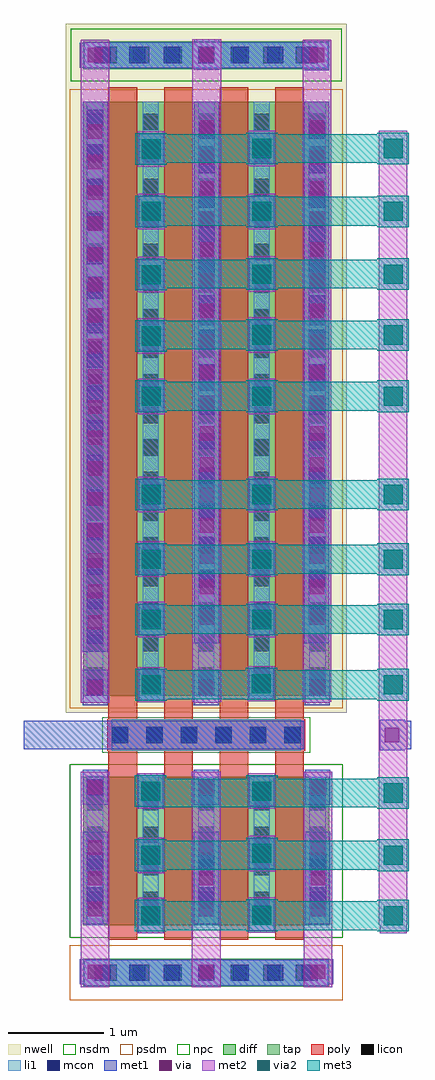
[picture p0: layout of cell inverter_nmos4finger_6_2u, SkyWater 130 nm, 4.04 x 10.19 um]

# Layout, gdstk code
import gdstk
lib = gdstk.Library(unit=1e-6, precision=1e-09)
def R(c, l, rs):  # rectangles x0, y0, x1, y1
    for r in rs: c.add(gdstk.rectangle(r[:2], r[2:], *l))
def A(c, l, x, y, w, h, nx, ny, dx, dy):  # array of equal rectangles
    R(c, l, [(x+i*dx, y+j*dy, x+i*dx+w, y+j*dy+h) for i in range(nx) for j in range(ny)])
nwell = (64, 20)
diff = (65, 20)
tap = (65, 44)
poly = (66, 20)
licon = (66, 44)
li1 = (67, 20)
mcon = (67, 44)
met1 = (68, 20)
via = (68, 44)
met2 = (69, 20)
via2 = (69, 44)
met3 = (70, 20)
nsdm = (93, 44)
psdm = (94, 20)
npc = (95, 20)

nfet_01v8_cdns_754877090 = lib.new_cell('nfet_01v8_CDNS_754877090682')
A(nfet_01v8_cdns_754877090, diff, 0, 0, 0.3, 1.55, 4, 1, 0.58, 0)
A(nfet_01v8_cdns_754877090, diff, 0.3, 0, 0.28, 1.55, 3, 1, 0.58, 0)
R(nfet_01v8_cdns_754877090, diff, [(-0.265,0,0,1.55), (2.04,0,2.305,1.55)])
R(nfet_01v8_cdns_754877090, tap, [(-0.265,1.9,2.305,2.19)])
A(nfet_01v8_cdns_754877090, poly, 0, -0.15, 0.3, 0.055, 4, 2, 0.58, 1.795)
A(nfet_01v8_cdns_754877090, poly, 0, -0.095, 0.3, 0.095, 4, 2, 0.58, 1.645)
A(nfet_01v8_cdns_754877090, poly, 0, 0, 0.3, 1.55, 4, 1, 0.58, 0)
A(nfet_01v8_cdns_754877090, licon, -0.225, 0.18, 0.17, 0.17, 5, 4, 0.58, 0.34)
A(nfet_01v8_cdns_754877090, licon, -0.085, 1.96, 0.17, 0.17, 7, 1, 0.34, 0)
A(nfet_01v8_cdns_754877090, li1, -0.225, 0, 0.17, 1.55, 5, 1, 0.58, 0)
R(nfet_01v8_cdns_754877090, li1, [(-0.255,1.91,2.295,2.18)])
A(nfet_01v8_cdns_754877090, mcon, -0.145, 1.96, 0.17, 0.17, 7, 1, 0.36, 0)
R(nfet_01v8_cdns_754877090, met1, [(-0.255,1.91,2.295,2.18)])
R(nfet_01v8_cdns_754877090, nsdm, [(-0.405,-0.13,2.445,1.68)])
R(nfet_01v8_cdns_754877090, psdm, [(-0.405,1.76,2.445,2.33)])

pfet_01v8_cdns_754877090 = lib.new_cell('pfet_01v8_CDNS_754877090683')
R(pfet_01v8_cdns_754877090, nwell, [(-0.445,-0.18,2.485,7.01)])
A(pfet_01v8_cdns_754877090, diff, 0, 0, 0.3, 6.2, 4, 1, 0.58, 0)
A(pfet_01v8_cdns_754877090, diff, 0.3, 0, 0.28, 6.2, 3, 1, 0.58, 0)
R(pfet_01v8_cdns_754877090, diff, [(-0.265,0,0,6.2), (2.04,0,2.305,6.2)])
R(pfet_01v8_cdns_754877090, tap, [(-0.265,6.54,2.305,6.83)])
A(pfet_01v8_cdns_754877090, poly, 0, -0.15, 0.3, 0.055, 4, 2, 0.58, 6.445)
A(pfet_01v8_cdns_754877090, poly, 0, -0.095, 0.3, 0.095, 4, 2, 0.58, 6.295)
A(pfet_01v8_cdns_754877090, poly, 0, 0, 0.3, 6.2, 4, 1, 0.58, 0)
A(pfet_01v8_cdns_754877090, licon, -0.225, 0.125, 0.17, 0.17, 5, 18, 0.58, 0.34)
A(pfet_01v8_cdns_754877090, licon, -0.085, 6.6, 0.17, 0.17, 7, 1, 0.34, 0)
A(pfet_01v8_cdns_754877090, li1, -0.225, 0, 0.17, 6.2, 5, 1, 0.58, 0)
R(pfet_01v8_cdns_754877090, li1, [(-0.255,6.55,2.295,6.82)])
A(pfet_01v8_cdns_754877090, mcon, -0.145, 6.6, 0.17, 0.17, 7, 1, 0.36, 0)
R(pfet_01v8_cdns_754877090, met1, [(-0.255,6.55,2.295,6.82)])
R(pfet_01v8_cdns_754877090, nsdm, [(-0.395,6.41,2.435,6.96)])
R(pfet_01v8_cdns_754877090, psdm, [(-0.405,-0.13,2.445,6.33)])

l1m1_c_cdns_754877090680 = lib.new_cell('L1M1_C_CDNS_754877090680')
R(l1m1_c_cdns_754877090680, li1, [(-0.085,-0.085,0.085,0.085)])
R(l1m1_c_cdns_754877090680, mcon, [(-0.085,-0.085,0.085,0.085)])
R(l1m1_c_cdns_754877090680, met1, [(-0.115,-0.185,0.115,0.185)])

m1m2_c_cdns_754877090682 = lib.new_cell('M1M2_C_CDNS_754877090682')
R(m1m2_c_cdns_754877090682, met1, [(-0.13,-0.185,0.13,0.185)])
R(m1m2_c_cdns_754877090682, via, [(-0.075,-0.075,0.075,0.075)])
R(m1m2_c_cdns_754877090682, met2, [(-0.13,-0.16,0.13,0.16)])

m1m2_c_cdns_754877090681 = lib.new_cell('M1M2_C_CDNS_754877090681')
R(m1m2_c_cdns_754877090681, met1, [(-0.16,-0.13,0.16,0.13)])
R(m1m2_c_cdns_754877090681, via, [(-0.075,-0.075,0.075,0.075)])
R(m1m2_c_cdns_754877090681, met2, [(-0.13,-0.16,0.13,0.16)])

l1m1_c_cdns_754877090683 = lib.new_cell('L1M1_C_CDNS_7548770906831')
R(l1m1_c_cdns_754877090683, li1, [(-0.085,-0.475,0.085,0.485)])
R(l1m1_c_cdns_754877090683, mcon, [(-0.085,-0.265,0.085,-0.095), (-0.085,0.095,0.085,0.265)])
R(l1m1_c_cdns_754877090683, met1, [(-0.13,-0.475,0.13,0.485)])

polyconn_cdns_7548770906 = lib.new_cell('polyConn_CDNS_754877090681')
R(polyconn_cdns_7548770906, poly, [(-1.035,-0.165,1.035,0.165)])
A(polyconn_cdns_7548770906, licon, -0.985, -0.085, 0.17, 0.17, 6, 1, 0.36, 0)
R(polyconn_cdns_7548770906, li1, [(-0.985,-0.165,0.985,0.165)])
A(polyconn_cdns_7548770906, mcon, -0.985, -0.085, 0.17, 0.17, 6, 1, 0.36, 0)
R(polyconn_cdns_7548770906, met1, [(-1.015,-0.145,1.015,0.145)])
R(polyconn_cdns_7548770906, npc, [(-1.085,-0.185,1.085,0.185)])

m1m2_c_cdns_754877090683 = lib.new_cell('M1M2_C_CDNS_7548770906832')
R(m1m2_c_cdns_754877090683, met1, [(-0.13,-0.475,0.13,0.485)])
A(m1m2_c_cdns_754877090683, via, -0.075, -0.395, 0.15, 0.15, 1, 3, 0, 0.32)
R(m1m2_c_cdns_754877090683, met2, [(-0.13,-0.475,0.13,0.485)])

m2m3_c_cdns_754877090681 = lib.new_cell('M2M3_C_CDNS_7548770906819')
R(m2m3_c_cdns_754877090681, met2, [(-0.14,-0.185,0.14,0.185)])
R(m2m3_c_cdns_754877090681, via2, [(-0.1,-0.1,0.1,0.1)])
R(m2m3_c_cdns_754877090681, met3, [(-0.165,-0.165,0.165,0.165)])

c_l1m1_c_cdns_754877090683 = lib.new_cell('L1M1_C_CDNS_7548770906833')
R(c_l1m1_c_cdns_754877090683, li1, [(-0.085,-0.13,0.085,0.13)])
R(c_l1m1_c_cdns_754877090683, mcon, [(-0.085,-0.12,0.085,0.05)])
R(c_l1m1_c_cdns_754877090683, met1, [(-0.13,-0.19,0.13,0.13)])

c_m1m2_c_cdns_754877090683 = lib.new_cell('M1M2_C_CDNS_7548770906834')
R(c_m1m2_c_cdns_754877090683, met1, [(-0.13,-0.19,0.13,0.13)])
R(c_m1m2_c_cdns_754877090683, via, [(-0.075,-0.11,0.075,0.04)])
R(c_m1m2_c_cdns_754877090683, met2, [(-0.14,-0.22,0.14,0.15)])

m2m3_c_cdns_754877090683 = lib.new_cell('M2M3_C_CDNS_7548770906835')
R(m2m3_c_cdns_754877090683, met2, [(-0.14,-0.22,0.14,0.15)])
R(m2m3_c_cdns_754877090683, via2, [(-0.1,-0.135,0.1,0.065)])
R(m2m3_c_cdns_754877090683, met3, [(-0.165,-0.2,0.165,0.13)])

c_l1m1_c_cdns_754877090683_ = lib.new_cell('L1M1_C_CDNS_7548770906836')
R(c_l1m1_c_cdns_754877090683_, li1, [(-0.085,-0.15,0.085,0.15)])
R(c_l1m1_c_cdns_754877090683_, mcon, [(-0.085,-0.085,0.085,0.085)])
R(c_l1m1_c_cdns_754877090683_, met1, [(-0.13,-0.16,0.13,0.16)])

c_m1m2_c_cdns_754877090683_ = lib.new_cell('M1M2_C_CDNS_7548770906837')
R(c_m1m2_c_cdns_754877090683_, met1, [(-0.13,-0.16,0.13,0.16)])
R(c_m1m2_c_cdns_754877090683_, via, [(-0.075,-0.075,0.075,0.075)])
R(c_m1m2_c_cdns_754877090683_, met2, [(-0.14,-0.185,0.14,0.185)])

c_l1m1_c_cdns_754877090683__ = lib.new_cell('L1M1_C_CDNS_7548770906838')
R(c_l1m1_c_cdns_754877090683__, li1, [(-0.085,-2.87,0.085,2.87)])
A(c_l1m1_c_cdns_754877090683__, mcon, -0.085, -2.785, 0.17, 0.17, 1, 16, 0, 0.36)
R(c_l1m1_c_cdns_754877090683__, met1, [(-0.13,-2.87,0.13,2.87)])

c_m1m2_c_cdns_754877090683__ = lib.new_cell('M1M2_C_CDNS_7548770906839')
R(c_m1m2_c_cdns_754877090683__, met1, [(-0.13,-2.87,0.13,2.87)])
A(c_m1m2_c_cdns_754877090683__, via, -0.075, -2.635, 0.15, 0.15, 1, 17, 0, 0.32)
R(c_m1m2_c_cdns_754877090683__, met2, [(-0.13,-2.87,0.13,2.87)])

m1m2_c_cdns_754877090684 = lib.new_cell('M1M2_C_CDNS_7548770906840')
R(m1m2_c_cdns_754877090684, met1, [(-0.13,-0.16,0.13,0.16)])
R(m1m2_c_cdns_754877090684, via, [(-0.075,-0.075,0.075,0.075)])
R(m1m2_c_cdns_754877090684, met2, [(-0.13,-0.16,0.13,0.16)])

l1m1_c_cdns_754877090684 = lib.new_cell('L1M1_C_CDNS_7548770906841')
R(l1m1_c_cdns_754877090684, li1, [(-0.085,-2.825,0.085,2.825)])
A(l1m1_c_cdns_754877090684, mcon, -0.085, -2.605, 0.17, 0.17, 1, 15, 0, 0.36)
R(l1m1_c_cdns_754877090684, met1, [(-0.13,-2.825,0.13,2.825)])

c_m1m2_c_cdns_754877090684 = lib.new_cell('M1M2_C_CDNS_7548770906842')
R(c_m1m2_c_cdns_754877090684, met1, [(-0.13,-2.825,0.13,2.825)])
A(c_m1m2_c_cdns_754877090684, via, -0.075, -2.635, 0.15, 0.15, 1, 17, 0, 0.32)
R(c_m1m2_c_cdns_754877090684, met2, [(-0.13,-2.825,0.13,2.825)])

c_l1m1_c_cdns_754877090684 = lib.new_cell('L1M1_C_CDNS_7548770906843')
R(c_l1m1_c_cdns_754877090684, li1, [(-0.13,-0.165,0.13,0.165)])
R(c_l1m1_c_cdns_754877090684, mcon, [(-0.085,-0.085,0.085,0.085)])
R(c_l1m1_c_cdns_754877090684, met1, [(-0.13,-0.16,0.13,0.16)])

inverter_nmos4finger_6_2 = lib.new_cell('inverter_nmos4finger_6_2u')
R(inverter_nmos4finger_6_2, met1, [(1.838,0.11,1.978,0.25), (2.355,0.625,2.615,0.95), (0.615,0.69,0.875,1.655), (1.775,0.69,2.035,1.655), (2.94,0.69,3.2,1.655), (0,2.595,0.14,2.735), (3.775,2.595,3.915,2.735), (1.835,9.755,1.975,9.895)])
inverter_nmos4finger_6_2.add(gdstk.FlexPath([(1.615,2.925),(1.615,2.38)], 0.3, ends="flush", simple_path=True, layer=66, datatype=20))  # poly
inverter_nmos4finger_6_2.add(gdstk.FlexPath([(1.035,2.925),(1.035,2.38)], 0.3, ends="flush", simple_path=True, layer=66, datatype=20))  # poly
inverter_nmos4finger_6_2.add(gdstk.FlexPath([(2.195,2.925),(2.195,2.38)], 0.3, ends="flush", simple_path=True, layer=66, datatype=20))  # poly
inverter_nmos4finger_6_2.add(gdstk.FlexPath([(2.775,2.925),(2.775,2.38)], 0.3, ends="flush", simple_path=True, layer=66, datatype=20))  # poly
inverter_nmos4finger_6_2.add(gdstk.FlexPath([(0.745,3.075),(0.745,3.16)], 0.17, ends="flush", simple_path=True, layer=67, datatype=20))  # li1
inverter_nmos4finger_6_2.add(gdstk.FlexPath([(1.325,0.8),(1.325,0.69)], 0.17, ends="flush", simple_path=True, layer=67, datatype=20))  # li1
inverter_nmos4finger_6_2.add(gdstk.FlexPath([(0.745,2.24),(0.745,2.12)], 0.17, ends="flush", simple_path=True, layer=67, datatype=20))  # li1
inverter_nmos4finger_6_2.add(gdstk.FlexPath([(0.745,1.455),(0.745,1.35)], 0.17, ends="flush", simple_path=True, layer=67, datatype=20))  # li1
inverter_nmos4finger_6_2.add(gdstk.FlexPath([(3.845,2.665),(4.045,2.665)], 0.3, ends="flush", simple_path=True, layer=68, datatype=20))  # met1
inverter_nmos4finger_6_2.add(gdstk.FlexPath([(1.905,2.665),(0,2.665)], 0.3, ends=(1.015, 0), simple_path=True, layer=68, datatype=20))  # met1
inverter_nmos4finger_6_2.add(gdstk.FlexPath([(3.855,8.785),(3.855,0.87)], 0.3, ends=(0.185, 0.185), simple_path=True, layer=69, datatype=20))  # met2
inverter_nmos4finger_6_2.add(gdstk.FlexPath([(1.91,3.16),(1.91,9.765)], 0.3, ends=(0.15, 0.16), simple_path=True, layer=69, datatype=20))  # met2
inverter_nmos4finger_6_2.add(gdstk.FlexPath([(1.905,3.16),(1.91,3.16)], 0.3, ends=(0, 0.15), simple_path=True, layer=69, datatype=20))  # met2
inverter_nmos4finger_6_2.add(gdstk.FlexPath([(3.065,3.16),(3.06,3.16)], 0.3, ends=(0, 0.15), simple_path=True, layer=69, datatype=20))  # met2
inverter_nmos4finger_6_2.add(gdstk.FlexPath([(3.06,3.16),(3.06,9.76)], 0.3, ends=(0.15, 0.16), simple_path=True, layer=69, datatype=20))  # met2
inverter_nmos4finger_6_2.add(gdstk.FlexPath([(0.745,3.16),(0.745,9.76)], 0.3, ends=(0.16, 0.16), simple_path=True, layer=69, datatype=20))  # met2
inverter_nmos4finger_6_2.add(gdstk.FlexPath([(3.07,2.12),(3.07,0.195)], 0.3, ends=(0.16, 0.16), simple_path=True, layer=69, datatype=20))  # met2
inverter_nmos4finger_6_2.add(gdstk.FlexPath([(1.905,2.12),(1.905,0.195)], 0.3, ends=(0.16, 0.16), simple_path=True, layer=69, datatype=20))  # met2
inverter_nmos4finger_6_2.add(gdstk.FlexPath([(0.745,2.12),(0.745,0.195)], 0.3, ends=(0.16, 0.16), simple_path=True, layer=69, datatype=20))  # met2
inverter_nmos4finger_6_2.add(gdstk.FlexPath([(1.33,3.87),(3.855,3.87)], 0.3, ends="flush", simple_path=True, layer=70, datatype=20))  # met3
inverter_nmos4finger_6_2.add(gdstk.FlexPath([(3.84,6.84),(1.33,6.84)], 0.3, ends="flush", simple_path=True, layer=70, datatype=20))  # met3
inverter_nmos4finger_6_2.add(gdstk.FlexPath([(3.84,7.475),(1.33,7.475)], 0.3, ends="flush", simple_path=True, layer=70, datatype=20))  # met3
inverter_nmos4finger_6_2.add(gdstk.FlexPath([(3.84,8.785),(1.33,8.785)], 0.3, ends="flush", simple_path=True, layer=70, datatype=20))  # met3
inverter_nmos4finger_6_2.add(gdstk.FlexPath([(4.02,8.13),(1.305,8.13)], 0.3, ends="flush", simple_path=True, layer=70, datatype=20))  # met3
inverter_nmos4finger_6_2.add(gdstk.FlexPath([(1.33,4.5),(3.855,4.5)], 0.3, ends="flush", simple_path=True, layer=70, datatype=20))  # met3
inverter_nmos4finger_6_2.add(gdstk.FlexPath([(3.845,3.19),(1.33,3.19)], 0.3, ends="flush", simple_path=True, layer=70, datatype=20))  # met3
inverter_nmos4finger_6_2.add(gdstk.FlexPath([(3.805,5.175),(1.33,5.175)], 0.3, ends="flush", simple_path=True, layer=70, datatype=20))  # met3
inverter_nmos4finger_6_2.add(gdstk.FlexPath([(3.84,6.2),(1.33,6.2)], 0.3, ends="flush", simple_path=True, layer=70, datatype=20))  # met3
inverter_nmos4finger_6_2.add(gdstk.FlexPath([(1.325,2.06),(3.855,2.06)], 0.3, ends="flush", simple_path=True, layer=70, datatype=20))  # met3
inverter_nmos4finger_6_2.add(gdstk.FlexPath([(1.325,1.41),(3.855,1.41)], 0.3, ends="flush", simple_path=True, layer=70, datatype=20))  # met3
inverter_nmos4finger_6_2.add(gdstk.FlexPath([(3.855,0.78),(1.325,0.78)], 0.3, ends="flush", simple_path=True, layer=70, datatype=20))  # met3
inverter_nmos4finger_6_2.add(gdstk.Reference(nfet_01v8_cdns_754877090, (0.885,2.23), x_reflection=True))
inverter_nmos4finger_6_2.add(gdstk.Reference(pfet_01v8_cdns_754877090, (0.885,3.075)))
inverter_nmos4finger_6_2.add(gdstk.Reference(l1m1_c_cdns_754877090680, (3.065,3.16)))
inverter_nmos4finger_6_2.add(gdstk.Reference(l1m1_c_cdns_754877090680, (1.905,3.16)))
inverter_nmos4finger_6_2.add(gdstk.Reference(l1m1_c_cdns_754877090680, (0.745,3.16)))
inverter_nmos4finger_6_2.add(gdstk.Reference(l1m1_c_cdns_754877090680, (1.325,2.08)))
inverter_nmos4finger_6_2.add(gdstk.Reference(l1m1_c_cdns_754877090680, (1.325,1.41)))
inverter_nmos4finger_6_2.add(gdstk.Reference(l1m1_c_cdns_754877090680, (1.325,0.78)))
inverter_nmos4finger_6_2.add(gdstk.Reference(l1m1_c_cdns_754877090680, (3.07,2.12)))
inverter_nmos4finger_6_2.add(gdstk.Reference(l1m1_c_cdns_754877090680, (0.745,2.12)))
inverter_nmos4finger_6_2.add(gdstk.Reference(l1m1_c_cdns_754877090680, (1.905,2.12)))
inverter_nmos4finger_6_2.add(gdstk.Reference(m1m2_c_cdns_754877090682, (3.065,3.16)))
inverter_nmos4finger_6_2.add(gdstk.Reference(m1m2_c_cdns_754877090682, (1.905,3.16)))
inverter_nmos4finger_6_2.add(gdstk.Reference(m1m2_c_cdns_754877090682, (0.745,3.16)))
inverter_nmos4finger_6_2.add(gdstk.Reference(m1m2_c_cdns_754877090682, (1.325,2.08)))
inverter_nmos4finger_6_2.add(gdstk.Reference(m1m2_c_cdns_754877090682, (1.325,1.41)))
inverter_nmos4finger_6_2.add(gdstk.Reference(m1m2_c_cdns_754877090682, (1.325,0.78)))
inverter_nmos4finger_6_2.add(gdstk.Reference(m1m2_c_cdns_754877090682, (3.07,2.12)))
inverter_nmos4finger_6_2.add(gdstk.Reference(m1m2_c_cdns_754877090682, (0.745,2.12)))
inverter_nmos4finger_6_2.add(gdstk.Reference(m1m2_c_cdns_754877090682, (1.905,2.12)))
inverter_nmos4finger_6_2.add(gdstk.Reference(m1m2_c_cdns_754877090681, (0.745,9.76)))
inverter_nmos4finger_6_2.add(gdstk.Reference(m1m2_c_cdns_754877090681, (3.07,0.195)))
inverter_nmos4finger_6_2.add(gdstk.Reference(m1m2_c_cdns_754877090681, (0.745,0.195)))
inverter_nmos4finger_6_2.add(gdstk.Reference(m1m2_c_cdns_754877090681, (1.905,0.195)))
inverter_nmos4finger_6_2.add(gdstk.Reference(l1m1_c_cdns_754877090683, (3.07,1.17)))
inverter_nmos4finger_6_2.add(gdstk.Reference(l1m1_c_cdns_754877090683, (0.745,1.17)))
inverter_nmos4finger_6_2.add(gdstk.Reference(l1m1_c_cdns_754877090683, (1.905,1.17)))
inverter_nmos4finger_6_2.add(gdstk.Reference(polyconn_cdns_7548770906, (1.905,2.665)))
inverter_nmos4finger_6_2.add(gdstk.Reference(m1m2_c_cdns_754877090683, (3.07,1.17)))
inverter_nmos4finger_6_2.add(gdstk.Reference(m1m2_c_cdns_754877090683, (1.905,1.17)))
inverter_nmos4finger_6_2.add(gdstk.Reference(m1m2_c_cdns_754877090683, (0.745,1.17)))
inverter_nmos4finger_6_2.add(gdstk.Reference(m2m3_c_cdns_754877090681, (3.855,4.5)))
inverter_nmos4finger_6_2.add(gdstk.Reference(m2m3_c_cdns_754877090681, (3.855,3.19)))
inverter_nmos4finger_6_2.add(gdstk.Reference(m2m3_c_cdns_754877090681, (2.485,5.175)))
inverter_nmos4finger_6_2.add(gdstk.Reference(m2m3_c_cdns_754877090681, (1.33,6.2)))
inverter_nmos4finger_6_2.add(gdstk.Reference(m2m3_c_cdns_754877090681, (3.855,6.2)))
inverter_nmos4finger_6_2.add(gdstk.Reference(m2m3_c_cdns_754877090681, (2.485,6.2)))
inverter_nmos4finger_6_2.add(gdstk.Reference(m2m3_c_cdns_754877090681, (1.33,6.83)))
inverter_nmos4finger_6_2.add(gdstk.Reference(m2m3_c_cdns_754877090681, (3.855,6.84)))
inverter_nmos4finger_6_2.add(gdstk.Reference(m2m3_c_cdns_754877090681, (3.855,7.475)))
inverter_nmos4finger_6_2.add(gdstk.Reference(m2m3_c_cdns_754877090681, (1.33,7.47)))
inverter_nmos4finger_6_2.add(gdstk.Reference(m2m3_c_cdns_754877090681, (2.485,6.84)))
inverter_nmos4finger_6_2.add(gdstk.Reference(m2m3_c_cdns_754877090681, (2.485,7.475)))
inverter_nmos4finger_6_2.add(gdstk.Reference(m2m3_c_cdns_754877090681, (1.33,8.78)))
inverter_nmos4finger_6_2.add(gdstk.Reference(m2m3_c_cdns_754877090681, (3.855,8.785)))
inverter_nmos4finger_6_2.add(gdstk.Reference(m2m3_c_cdns_754877090681, (2.485,8.785)))
inverter_nmos4finger_6_2.add(gdstk.Reference(m2m3_c_cdns_754877090681, (3.855,5.175)))
inverter_nmos4finger_6_2.add(gdstk.Reference(m2m3_c_cdns_754877090681, (2.485,4.5)))
inverter_nmos4finger_6_2.add(gdstk.Reference(m2m3_c_cdns_754877090681, (2.485,3.87)))
inverter_nmos4finger_6_2.add(gdstk.Reference(m2m3_c_cdns_754877090681, (1.33,8.13)))
inverter_nmos4finger_6_2.add(gdstk.Reference(m2m3_c_cdns_754877090681, (3.855,8.13)))
inverter_nmos4finger_6_2.add(gdstk.Reference(m2m3_c_cdns_754877090681, (2.485,8.13)))
inverter_nmos4finger_6_2.add(gdstk.Reference(m2m3_c_cdns_754877090681, (1.33,5.175)))
inverter_nmos4finger_6_2.add(gdstk.Reference(m2m3_c_cdns_754877090681, (1.33,4.5)))
inverter_nmos4finger_6_2.add(gdstk.Reference(m2m3_c_cdns_754877090681, (1.33,3.87)))
inverter_nmos4finger_6_2.add(gdstk.Reference(m2m3_c_cdns_754877090681, (2.48,3.2)))
inverter_nmos4finger_6_2.add(gdstk.Reference(m2m3_c_cdns_754877090681, (1.33,3.19)))
inverter_nmos4finger_6_2.add(gdstk.Reference(m2m3_c_cdns_754877090681, (2.485,1.43)))
inverter_nmos4finger_6_2.add(gdstk.Reference(m2m3_c_cdns_754877090681, (2.485,2.08)))
inverter_nmos4finger_6_2.add(gdstk.Reference(m2m3_c_cdns_754877090681, (3.855,2.06)))
inverter_nmos4finger_6_2.add(gdstk.Reference(m2m3_c_cdns_754877090681, (3.855,1.41)))
inverter_nmos4finger_6_2.add(gdstk.Reference(m2m3_c_cdns_754877090681, (1.325,2.08)))
inverter_nmos4finger_6_2.add(gdstk.Reference(m2m3_c_cdns_754877090681, (1.325,1.41)))
inverter_nmos4finger_6_2.add(gdstk.Reference(m2m3_c_cdns_754877090681, (3.855,3.87)))
inverter_nmos4finger_6_2.add(gdstk.Reference(m2m3_c_cdns_754877090681, (3.855,0.78)))
inverter_nmos4finger_6_2.add(gdstk.Reference(m2m3_c_cdns_754877090681, (1.325,0.78)))
inverter_nmos4finger_6_2.add(gdstk.Reference(c_l1m1_c_cdns_754877090683, (2.485,0.82)))
inverter_nmos4finger_6_2.add(gdstk.Reference(c_m1m2_c_cdns_754877090683, (2.485,0.82)))
inverter_nmos4finger_6_2.add(gdstk.Reference(m2m3_c_cdns_754877090683, (2.485,0.82)))
inverter_nmos4finger_6_2.add(gdstk.Reference(c_l1m1_c_cdns_754877090683_, (2.485,6.2)))
inverter_nmos4finger_6_2.add(gdstk.Reference(c_l1m1_c_cdns_754877090683_, (2.485,6.84)))
inverter_nmos4finger_6_2.add(gdstk.Reference(c_l1m1_c_cdns_754877090683_, (2.485,7.475)))
inverter_nmos4finger_6_2.add(gdstk.Reference(c_l1m1_c_cdns_754877090683_, (2.485,8.785)))
inverter_nmos4finger_6_2.add(gdstk.Reference(c_l1m1_c_cdns_754877090683_, (2.485,5.175)))
inverter_nmos4finger_6_2.add(gdstk.Reference(c_l1m1_c_cdns_754877090683_, (2.485,4.5)))
inverter_nmos4finger_6_2.add(gdstk.Reference(c_l1m1_c_cdns_754877090683_, (2.485,3.87)))
inverter_nmos4finger_6_2.add(gdstk.Reference(c_l1m1_c_cdns_754877090683_, (2.485,8.13)))
inverter_nmos4finger_6_2.add(gdstk.Reference(c_l1m1_c_cdns_754877090683_, (2.485,1.43)))
inverter_nmos4finger_6_2.add(gdstk.Reference(c_l1m1_c_cdns_754877090683_, (2.485,2.08)))
inverter_nmos4finger_6_2.add(gdstk.Reference(c_m1m2_c_cdns_754877090683_, (1.33,6.2)))
inverter_nmos4finger_6_2.add(gdstk.Reference(c_m1m2_c_cdns_754877090683_, (2.485,6.2)))
inverter_nmos4finger_6_2.add(gdstk.Reference(c_m1m2_c_cdns_754877090683_, (1.33,6.83)))
inverter_nmos4finger_6_2.add(gdstk.Reference(c_m1m2_c_cdns_754877090683_, (1.33,7.47)))
inverter_nmos4finger_6_2.add(gdstk.Reference(c_m1m2_c_cdns_754877090683_, (2.485,6.84)))
inverter_nmos4finger_6_2.add(gdstk.Reference(c_m1m2_c_cdns_754877090683_, (2.485,7.475)))
inverter_nmos4finger_6_2.add(gdstk.Reference(c_m1m2_c_cdns_754877090683_, (1.33,8.78)))
inverter_nmos4finger_6_2.add(gdstk.Reference(c_m1m2_c_cdns_754877090683_, (2.485,8.785)))
inverter_nmos4finger_6_2.add(gdstk.Reference(c_m1m2_c_cdns_754877090683_, (2.485,5.175)))
inverter_nmos4finger_6_2.add(gdstk.Reference(c_m1m2_c_cdns_754877090683_, (2.485,4.5)))
inverter_nmos4finger_6_2.add(gdstk.Reference(c_m1m2_c_cdns_754877090683_, (2.485,3.87)))
inverter_nmos4finger_6_2.add(gdstk.Reference(c_m1m2_c_cdns_754877090683_, (1.33,8.13)))
inverter_nmos4finger_6_2.add(gdstk.Reference(c_m1m2_c_cdns_754877090683_, (2.485,8.13)))
inverter_nmos4finger_6_2.add(gdstk.Reference(c_m1m2_c_cdns_754877090683_, (1.33,5.175)))
inverter_nmos4finger_6_2.add(gdstk.Reference(c_m1m2_c_cdns_754877090683_, (1.33,4.5)))
inverter_nmos4finger_6_2.add(gdstk.Reference(c_m1m2_c_cdns_754877090683_, (1.33,3.87)))
inverter_nmos4finger_6_2.add(gdstk.Reference(c_m1m2_c_cdns_754877090683_, (2.48,3.2)))
inverter_nmos4finger_6_2.add(gdstk.Reference(c_m1m2_c_cdns_754877090683_, (1.33,3.19)))
inverter_nmos4finger_6_2.add(gdstk.Reference(c_m1m2_c_cdns_754877090683_, (2.485,1.43)))
inverter_nmos4finger_6_2.add(gdstk.Reference(c_m1m2_c_cdns_754877090683_, (2.485,2.08)))
inverter_nmos4finger_6_2.add(gdstk.Reference(c_l1m1_c_cdns_754877090683__, (0.745,6.405)))
inverter_nmos4finger_6_2.add(gdstk.Reference(c_m1m2_c_cdns_754877090683__, (0.745,6.405)))
inverter_nmos4finger_6_2.add(gdstk.Reference(m1m2_c_cdns_754877090684, (3.845,2.665)))
inverter_nmos4finger_6_2.add(gdstk.Reference(m1m2_c_cdns_754877090684, (1.91,9.765)))
inverter_nmos4finger_6_2.add(gdstk.Reference(m1m2_c_cdns_754877090684, (3.06,9.76)))
inverter_nmos4finger_6_2.add(gdstk.Reference(l1m1_c_cdns_754877090684, (1.91,6.45)))
inverter_nmos4finger_6_2.add(gdstk.Reference(l1m1_c_cdns_754877090684, (3.06,6.45)))
inverter_nmos4finger_6_2.add(gdstk.Reference(c_m1m2_c_cdns_754877090684, (1.91,6.45)))
inverter_nmos4finger_6_2.add(gdstk.Reference(c_m1m2_c_cdns_754877090684, (3.06,6.45)))
inverter_nmos4finger_6_2.add(gdstk.Reference(c_l1m1_c_cdns_754877090684, (1.33,6.2)))
inverter_nmos4finger_6_2.add(gdstk.Reference(c_l1m1_c_cdns_754877090684, (1.33,6.83)))
inverter_nmos4finger_6_2.add(gdstk.Reference(c_l1m1_c_cdns_754877090684, (1.33,7.47)))
inverter_nmos4finger_6_2.add(gdstk.Reference(c_l1m1_c_cdns_754877090684, (1.33,8.78)))
inverter_nmos4finger_6_2.add(gdstk.Reference(c_l1m1_c_cdns_754877090684, (1.33,8.13)))
inverter_nmos4finger_6_2.add(gdstk.Reference(c_l1m1_c_cdns_754877090684, (1.33,5.175)))
inverter_nmos4finger_6_2.add(gdstk.Reference(c_l1m1_c_cdns_754877090684, (1.33,4.5)))
inverter_nmos4finger_6_2.add(gdstk.Reference(c_l1m1_c_cdns_754877090684, (1.33,3.87)))
inverter_nmos4finger_6_2.add(gdstk.Reference(c_l1m1_c_cdns_754877090684, (2.48,3.2)))
inverter_nmos4finger_6_2.add(gdstk.Reference(c_l1m1_c_cdns_754877090684, (1.33,3.19)))

lib.write_gds('inverter_nmos4finger_6_2u.gds')
